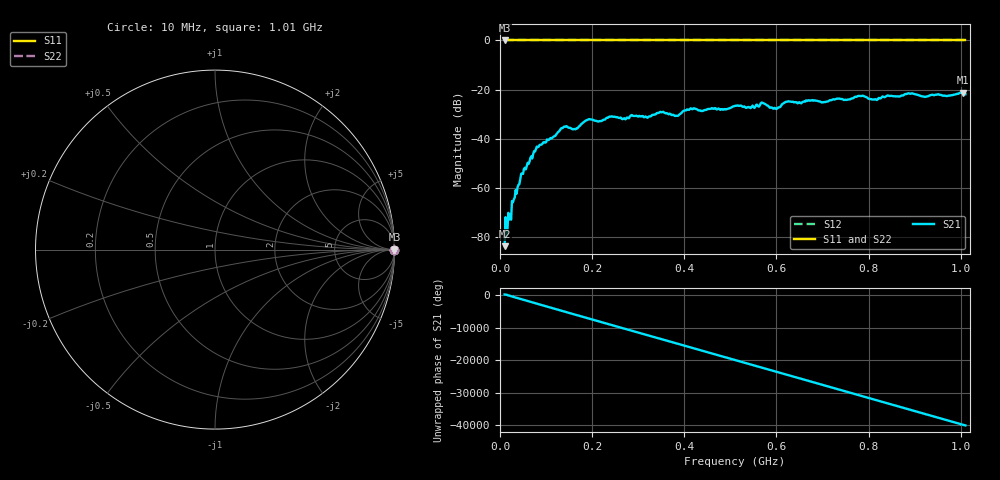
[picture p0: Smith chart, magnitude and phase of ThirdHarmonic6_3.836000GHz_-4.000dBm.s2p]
! 8/17/2025 1:20:58 PM
! C:\ANRITSUVNA\TEMP\TEMP.S2P
! CHANNEL.1
! TR.MEASUREMENT
! RAW.DATA
! RF.CORRECTION.OFF
! AVERAGING.OFF
! IF.BANDWIDTH: 5KHZ
! SWEEPTYPE:  FREQ.SWEEP(Linear)
! Reference Plane Port Info
! PORT:  PORT1  PORT2
! DISTANCE:  0  m  0  m
! TIME:  0  s  0  s
! PHASE.OFFSET:  0  deg.  0  deg.
! LOSS:  0  dB  0  dB
! REF.LOSS:  0  dB  0  dB
! REF.FREQ:  0  Hz  0  Hz
! Power Info
! POWER:  -20  dBm  -20  dBm
! EFF.POWER:  -20  dBm  -20  dBm
! SOURCE.ATTEN:  0  dB  0  dB
! TEST.ATTEN:  0  dB  0  dB
# GHZ S RI R 50.0
! FREQ.GHZ  S11RE  S11IM  S21RE  S21IM  S12RE  S12IM  S22RE  S22IM
!; PortSelection: Port_12
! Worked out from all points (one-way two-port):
!   501 points, 10 MHz to 1.01 GHz, reference 50 ohm
!   highest |S21| = -21.30 dB at 1.004 GHz (marker M1); lowest = -83.8 dB at 10 MHz (marker M2)
!   lowest |S11| = 0.0 dB at 10 MHz (marker M3)
!   |S11| at or under -10 dB: nowhere
!   |S22| runs from 0.0 to 0.0 dB; largest |S21 - S12| = 1.1
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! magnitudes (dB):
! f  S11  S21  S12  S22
! 10 MHz  0.0  -83.8  0.0  0.0
! 20 MHz  0.0  -73.0  0.0  0.0
! 30 MHz  0.0  -64.8  0.0  0.0
! 48 MHz  0.0  -54.1  0.0  0.0
! 78 MHz  0.0  -44.2  0.0  0.0
! 136 MHz  0.0  -35.7  0.0  0.0
! 162 MHz  0.0  -36.1  0.0  0.0
! 178 MHz  0.0  -33.8  0.0  0.0
! 194 MHz  0.0  -32.0  0.0  0.0
! 322 MHz  0.0  -31.1  0.0  0.0
! 344 MHz  0.0  -29.6  0.0  0.0
! 382 MHz  0.0  -30.7  0.0  0.0
! 416 MHz  0.0  -28.0  0.0  0.0
! 510 MHz  0.0  -26.7  0.0  0.0
! 570 MHz  0.0  -25.5  0.0  0.0
! 598 MHz  0.0  -27.8  0.0  0.0
! 624 MHz  0.0  -24.9  0.0  0.0
! 678 MHz  0.0  -24.3  0.0  0.0
! 814 MHz  0.0  -23.9  0.0  0.0
! 844 MHz  0.0  -22.5  0.0  0.0
! 1.004 GHz  0.0  -21.3  0.0  0.0
! 1.01 GHz  0.0  -21.9  0.0  0.0
